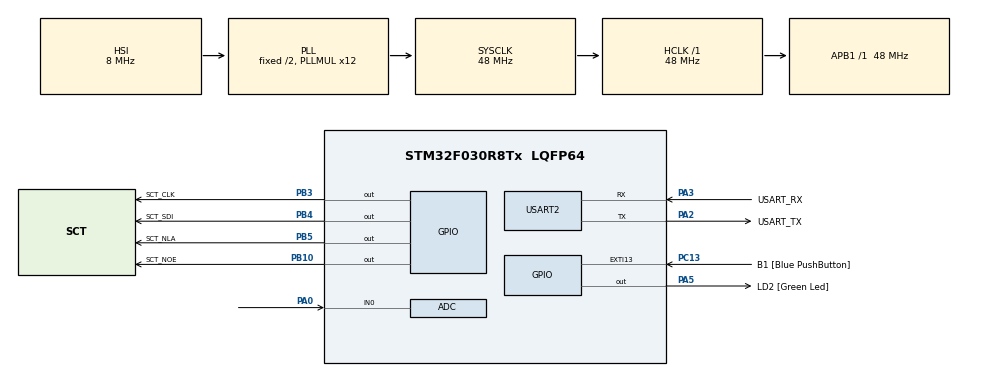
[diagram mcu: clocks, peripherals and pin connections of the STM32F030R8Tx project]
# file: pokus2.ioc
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ADC.ContinuousConvMode=ENABLE
ADC.Overrun=ADC_OVR_DATA_OVERWRITTEN
ADC.SamplingTime=ADC_SAMPLETIME_239CYCLES_5
Mcu.Family=STM32F0
Mcu.Name=STM32F030R8Tx
Mcu.Package=LQFP64
NVIC.ADC1_IRQn=true\:0\:0\:false\:false\:true\:true\:true\:true
PA0.Mode=IN0
PA0.Signal=ADC_IN0
PA13.GPIO_Label=TMS
PA13.Mode=Serial_Wire
PA13.Signal=SYS_SWDIO
PA14.GPIO_Label=TCK
PA14.Mode=Serial_Wire
PA14.Signal=SYS_SWCLK
PA2.GPIO_Label=USART_TX
PA2.GPIO_Mode=GPIO_MODE_AF_PP
PA2.GPIO_PuPd=GPIO_NOPULL
PA2.GPIO_Speed=GPIO_SPEED_FREQ_LOW
PA2.Mode=Asynchronous
PA2.Signal=USART2_TX
PA3.GPIO_Label=USART_RX
PA3.GPIO_Mode=GPIO_MODE_AF_PP
PA3.GPIO_PuPd=GPIO_NOPULL
PA3.GPIO_Speed=GPIO_SPEED_FREQ_LOW
PA3.Mode=Asynchronous
PA3.Signal=USART2_RX
PA5.GPIO_Label=LD2 [Green Led]
PA5.GPIO_Mode=GPIO_MODE_OUTPUT_PP
PA5.GPIO_PuPd=GPIO_NOPULL
PA5.GPIO_Speed=GPIO_SPEED_FREQ_LOW
PA5.Signal=GPIO_Output
PB10.GPIO_Label=SCT_NOE
PB10.Signal=GPIO_Output
PB3.GPIO_Label=SCT_CLK
PB3.Signal=GPIO_Output
PB4.GPIO_Label=SCT_SDI
PB4.Signal=GPIO_Output
PB5.GPIO_Label=SCT_NLA
PB5.Signal=GPIO_Output
PC13.GPIO_Label=B1 [Blue PushButton]
PC13.GPIO_ModeDefaultEXTI=GPIO_MODE_IT_FALLING
PC13.Signal=GPXTI13
PC14-OSC32_IN.Mode=LSE-External-Oscillator
PC14-OSC32_IN.Signal=RCC_OSC32_IN
PC15-OSC32_OUT.Mode=LSE-External-Oscillator
PC15-OSC32_OUT.Signal=RCC_OSC32_OUT
PF0-OSC_IN.Mode=HSE-External-Clock-Source
PF0-OSC_IN.Signal=RCC_OSC_IN
PF1-OSC_OUT.Signal=RCC_OSC_OUT
ProjectManager.HeapSize=0x200
ProjectManager.StackSize=0x400
ProjectManager.TargetToolchain=STM32CubeIDE
RCC.AHBFreq_Value=48000000
RCC.APB1Freq_Value=48000000
RCC.APB1TimFreq_Value=48000000
RCC.HCLKFreq_Value=48000000
RCC.PLLMUL=RCC_PLL_MUL12
RCC.SYSCLKFreq_VALUE=48000000
RCC.SYSCLKSource=RCC_SYSCLKSOURCE_PLLCLK
USART2.VirtualMode-Asynchronous=VM_ASYNC
board=NUCLEO-F030R8

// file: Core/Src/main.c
/* USER CODE BEGIN Header */
/**
  ******************************************************************************
  * @file           : main.c
  * @brief          : Main program body
  ******************************************************************************
  * @attention
  *
  * Copyright (c) 2024 STMicroelectronics.
  * All rights reserved.
  *
  * This software is licensed under terms that can be found in the LICENSE file
  * in the root directory of this software component.
  * If no LICENSE file comes with this software, it is provided AS-IS.
  *
  ******************************************************************************
  */
/* USER CODE END Header */
#include "main.h"

/* USER CODE BEGIN Includes */
#include "sct.h"

/* USER CODE END Includes */

/* USER CODE BEGIN PD */
#define ADC_Q  6

/* Temperature sensor calibration value address */
#define TEMP110_CAL_ADDR ((uint16_t*) ((uint32_t) 0x1FFFF7C2))
#define TEMP30_CAL_ADDR ((uint16_t*) ((uint32_t) 0x1FFFF7B8))

/* Internal voltage reference calibration value address */
#define VREFINT_CAL_ADDR ((uint16_t*) ((uint32_t) 0x1FFFF7BA))

/* USER CODE END PD */

ADC_HandleTypeDef hadc;

UART_HandleTypeDef huart2;

/* USER CODE BEGIN PV */
static volatile uint32_t raw_pot;
static volatile uint32_t raw_temp;
static volatile uint32_t raw_volt;

/* USER CODE END PV */

void SystemClock_Config(void);
static void MX_GPIO_Init(void);
static void MX_USART2_UART_Init(void);
static void MX_ADC_Init(void);

int main(void)
{

  /* MCU Configuration--------------------------------------------------------*/

  /* Reset of all peripherals, Initializes the Flash interface and the Systick. */
  HAL_Init();

  /* Configure the system clock */
  SystemClock_Config();

  /* Initialize all configured peripherals */
  MX_GPIO_Init();
  MX_USART2_UART_Init();
  MX_ADC_Init();
  /* USER CODE BEGIN 2 */

  sct_init();
  sct_led(0x0);
  HAL_Delay(1000);

  HAL_ADCEx_Calibration_Start(&hadc);
  HAL_ADC_Start_IT(&hadc);

  /* USER CODE END 2 */

  /* Infinite loop */
  while (1)
  {

    /* USER CODE BEGIN 3 */
	  uint16_t rescaled_pot;
	  uint8_t bargraph_leds;
	  uint32_t voltage;
	  int32_t  temperature;
	  static uint32_t delay;

	  rescaled_pot = (raw_pot * 501) / 4096;
	  bargraph_leds = (raw_pot * 9) / 4096;

	  sct_value(rescaled_pot, bargraph_leds);

  }
  /* USER CODE END 3 */
}

void SystemClock_Config(void)
{
  RCC_OscInitTypeDef RCC_OscInitStruct = {0};
  RCC_ClkInitTypeDef RCC_ClkInitStruct = {0};

  /** Initializes the RCC Oscillators according to the specified parameters
  * in the RCC_OscInitTypeDef structure.
  */
  RCC_OscInitStruct.OscillatorType = RCC_OSCILLATORTYPE_HSI|RCC_OSCILLATORTYPE_HSI14;
  RCC_OscInitStruct.HSIState = RCC_HSI_ON;
  RCC_OscInitStruct.HSI14State = RCC_HSI14_ON;
  RCC_OscInitStruct.HSICalibrationValue = RCC_HSICALIBRATION_DEFAULT;
  RCC_OscInitStruct.HSI14CalibrationValue = 16;
  RCC_OscInitStruct.PLL.PLLState = RCC_PLL_ON;
  RCC_OscInitStruct.PLL.PLLSource = RCC_PLLSOURCE_HSI;
  RCC_OscInitStruct.PLL.PLLMUL = RCC_PLL_MUL12;
  RCC_OscInitStruct.PLL.PREDIV = RCC_PREDIV_DIV1;
  if (HAL_RCC_OscConfig(&RCC_OscInitStruct) != HAL_OK)
  {
    Error_Handler();
  }

  /** Initializes the CPU, AHB and APB buses clocks
  */
  RCC_ClkInitStruct.ClockType = RCC_CLOCKTYPE_HCLK|RCC_CLOCKTYPE_SYSCLK
                              |RCC_CLOCKTYPE_PCLK1;
  RCC_ClkInitStruct.SYSCLKSource = RCC_SYSCLKSOURCE_PLLCLK;
  RCC_ClkInitStruct.AHBCLKDivider = RCC_SYSCLK_DIV1;
  RCC_ClkInitStruct.APB1CLKDivider = RCC_HCLK_DIV1;

  if (HAL_RCC_ClockConfig(&RCC_ClkInitStruct, FLASH_LATENCY_1) != HAL_OK)
  {
    Error_Handler();
  }
}

static void MX_ADC_Init(void)
{

  ADC_ChannelConfTypeDef sConfig = {0};

  /** Configure the global features of the ADC (Clock, Resolution, Data Alignment and number of conversion)
  */
  hadc.Instance = ADC1;
  hadc.Init.ClockPrescaler = ADC_CLOCK_ASYNC_DIV1;
  hadc.Init.Resolution = ADC_RESOLUTION_12B;
  hadc.Init.DataAlign = ADC_DATAALIGN_RIGHT;
  hadc.Init.ScanConvMode = ADC_SCAN_DIRECTION_FORWARD;
  hadc.Init.EOCSelection = ADC_EOC_SINGLE_CONV;
  hadc.Init.LowPowerAutoWait = DISABLE;
  hadc.Init.LowPowerAutoPowerOff = DISABLE;
  hadc.Init.ContinuousConvMode = ENABLE;
  hadc.Init.DiscontinuousConvMode = DISABLE;
  hadc.Init.ExternalTrigConv = ADC_SOFTWARE_START;
  hadc.Init.ExternalTrigConvEdge = ADC_EXTERNALTRIGCONVEDGE_NONE;
  hadc.Init.DMAContinuousRequests = DISABLE;
  hadc.Init.Overrun = ADC_OVR_DATA_OVERWRITTEN;
  if (HAL_ADC_Init(&hadc) != HAL_OK)
  {
    Error_Handler();
  }

  /** Configure for the selected ADC regular channel to be converted.
  */
  sConfig.Channel = ADC_CHANNEL_0;
  sConfig.Rank = ADC_RANK_CHANNEL_NUMBER;
  sConfig.SamplingTime = ADC_SAMPLETIME_239CYCLES_5;
  if (HAL_ADC_ConfigChannel(&hadc, &sConfig) != HAL_OK)
  {
    Error_Handler();
  }

}

static void MX_USART2_UART_Init(void)
{

  huart2.Instance = USART2;
  huart2.Init.BaudRate = 38400;
  huart2.Init.WordLength = UART_WORDLENGTH_8B;
  huart2.Init.StopBits = UART_STOPBITS_1;
  huart2.Init.Parity = UART_PARITY_NONE;
  huart2.Init.Mode = UART_MODE_TX_RX;
  huart2.Init.HwFlowCtl = UART_HWCONTROL_NONE;
  huart2.Init.OverSampling = UART_OVERSAMPLING_16;
  huart2.Init.OneBitSampling = UART_ONE_BIT_SAMPLE_DISABLE;
  huart2.AdvancedInit.AdvFeatureInit = UART_ADVFEATURE_NO_INIT;
  if (HAL_UART_Init(&huart2) != HAL_OK)
  {
    Error_Handler();
  }

}

static void MX_GPIO_Init(void)
{
  GPIO_InitTypeDef GPIO_InitStruct = {0};

  /* GPIO Ports Clock Enable */
  __HAL_RCC_GPIOC_CLK_ENABLE();
  __HAL_RCC_GPIOF_CLK_ENABLE();
  __HAL_RCC_GPIOA_CLK_ENABLE();
  __HAL_RCC_GPIOB_CLK_ENABLE();

  /*Configure GPIO pin Output Level */
  HAL_GPIO_WritePin(LD2_GPIO_Port, LD2_Pin, GPIO_PIN_RESET);

  /*Configure GPIO pin Output Level */
  HAL_GPIO_WritePin(GPIOB, SCT_NOE_Pin|SCT_CLK_Pin|SCT_SDI_Pin|SCT_NLA_Pin, GPIO_PIN_RESET);

  /*Configure GPIO pin : B1_Pin */
  GPIO_InitStruct.Pin = B1_Pin;
  GPIO_InitStruct.Mode = GPIO_MODE_IT_FALLING;
  GPIO_InitStruct.Pull = GPIO_NOPULL;
  HAL_GPIO_Init(B1_GPIO_Port, &GPIO_InitStruct);

  /*Configure GPIO pin : LD2_Pin */
  GPIO_InitStruct.Pin = LD2_Pin;
  GPIO_InitStruct.Mode = GPIO_MODE_OUTPUT_PP;
  GPIO_InitStruct.Pull = GPIO_NOPULL;
  GPIO_InitStruct.Speed = GPIO_SPEED_FREQ_LOW;
  HAL_GPIO_Init(LD2_GPIO_Port, &GPIO_InitStruct);

  /*Configure GPIO pins : SCT_NOE_Pin SCT_CLK_Pin SCT_SDI_Pin SCT_NLA_Pin */
  GPIO_InitStruct.Pin = SCT_NOE_Pin|SCT_CLK_Pin|SCT_SDI_Pin|SCT_NLA_Pin;
  GPIO_InitStruct.Mode = GPIO_MODE_OUTPUT_PP;
  GPIO_InitStruct.Pull = GPIO_NOPULL;
  GPIO_InitStruct.Speed = GPIO_SPEED_FREQ_LOW;
  HAL_GPIO_Init(GPIOB, &GPIO_InitStruct);

}

/* USER CODE BEGIN 4 */
void HAL_ADC_ConvCpltCallback(ADC_HandleTypeDef* hadc){

	static uint8_t channel;
	static uint32_t avg_pot;

	if (channel == 0){
		raw_pot = avg_pot >> ADC_Q;
		avg_pot -= raw_pot;
		avg_pot += HAL_ADC_GetValue(hadc);
	}
	else if (channel == 1){
		raw_temp = HAL_ADC_GetValue(hadc);
	}
	else {
		raw_volt = HAL_ADC_GetValue(hadc);
	};

	if (__HAL_ADC_GET_FLAG(hadc, ADC_FLAG_EOS)) channel = 0;
	else channel++;

}
/* USER CODE END 4 */

void Error_Handler(void)
{
  __disable_irq();
  while (1)
  {
  }
}
